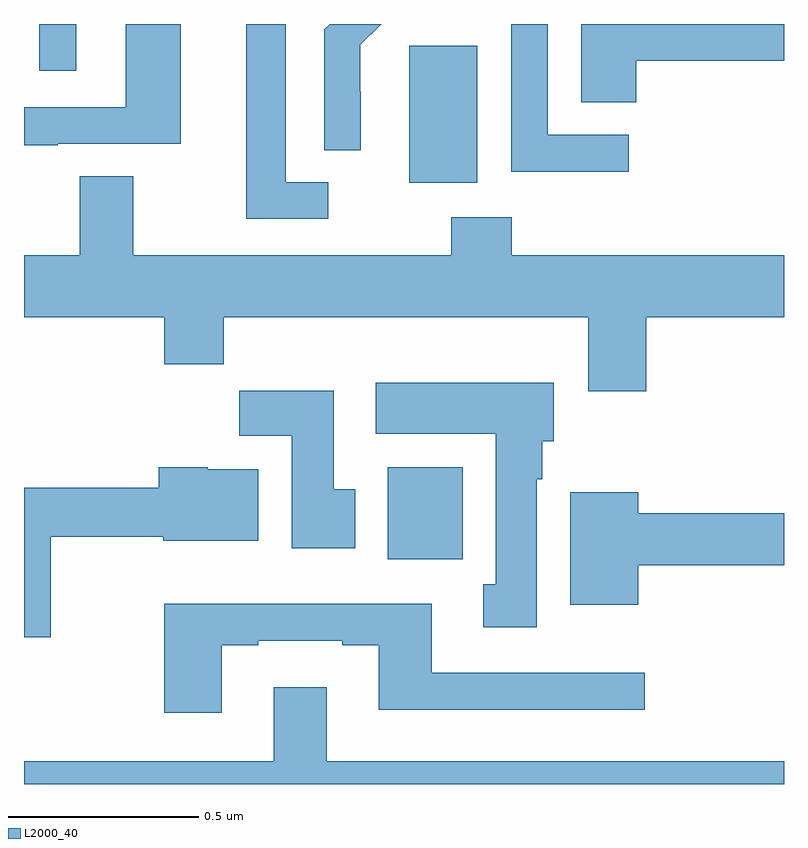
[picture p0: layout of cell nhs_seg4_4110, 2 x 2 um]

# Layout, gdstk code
import gdstk
lib = gdstk.Library(unit=1e-6, precision=1e-09)
def R(c, l, rs):  # rectangles x0, y0, x1, y1
    for r in rs: c.add(gdstk.rectangle(r[:2], r[2:], *l))
def P(c, l, *ps):  # polygons
    for p in ps: c.add(gdstk.Polygon(p, *l))
L2000_40 = (2000, 40)

nhs_seg4_4110 = lib.new_cell('nhs_seg4_4110')
R(nhs_seg4_4110, L2000_40, [(161.957,821.492,162.154,821.734), (162.014,822.482,162.193,822.843), (161.04,822.777,161.137,822.9)])
P(nhs_seg4_4110, L2000_40, [(162.592,822.609),(162.378,822.609),(162.378,822.9),(162.282,822.9),(162.282,822.511),(162.592,822.511)],
  [(161.8,822.483),(161.689,822.483),(161.689,822.9),(161.585,822.9),(161.585,822.387),(161.8,822.387)],
  [(162.611,822.803),(163,822.803),(163,822.9),(162.467,822.9),(162.467,822.694),(162.611,822.694)],
  [(161.089,822.585),(161.413,822.585),(161.413,822.9),(161.268,822.9),(161.268,822.681),(161,822.681),(161,822.581),(161.089,822.581)],
  [(161.886,822.722),(161.885,822.722),(161.885,822.845),(161.94,822.9),(161.804,822.9),(161.79,822.886),(161.79,822.568),(161.886,822.568)],
  [(162.284,822.391),(162.124,822.391),(162.124,822.292),(161.287,822.292),(161.287,822.5),(161.147,822.5),(161.147,822.292),(161,822.292),(161,822.128),(161.369,822.128),(161.369,822.004),(161.525,822.004),(161.525,822.128),(162.485,822.128),(162.485,821.934),(162.638,821.934),(162.638,822.128),(163,822.128),(163,822.292),(162.284,822.292)],
  [(162.349,821.702),(162.364,821.702),(162.364,821.802),(162.394,821.802),(162.394,821.956),(161.925,821.956),(161.925,821.822),(162.242,821.822),(162.242,821.426),(162.209,821.426),(162.209,821.313),(162.349,821.313)],
  [(161.872,821.676),(161.815,821.676),(161.815,821.935),(161.566,821.935),(161.566,821.816),(161.705,821.816),(161.705,821.52),(161.872,821.52)],
  [(161.07,821.551),(161.366,821.551),(161.366,821.54),(161.617,821.54),(161.617,821.728),(161.484,821.728),(161.484,821.734),(161.354,821.734),(161.354,821.68),(161,821.68),(161,821.286),(161.07,821.286)],
  [(162.616,821.476),(163,821.476),(163,821.612),(162.616,821.612),(162.616,821.668),(162.437,821.668),(162.437,821.372),(162.616,821.372)],
  [(161.521,821.265),(161.617,821.265),(161.617,821.277),(161.837,821.277),(161.837,821.265),(161.933,821.265),(161.933,821.096),(162.634,821.096),(162.634,821.193),(162.073,821.193),(162.073,821.374),(161.369,821.374),(161.369,821.088),(161.521,821.088)],
  [(163,820.96),(161.797,820.96),(161.797,821.155),(161.657,821.155),(161.657,820.96),(161,820.96),(161,820.9),(163,820.9)])

lib.write_gds('nhs_seg4_4110.gds')
